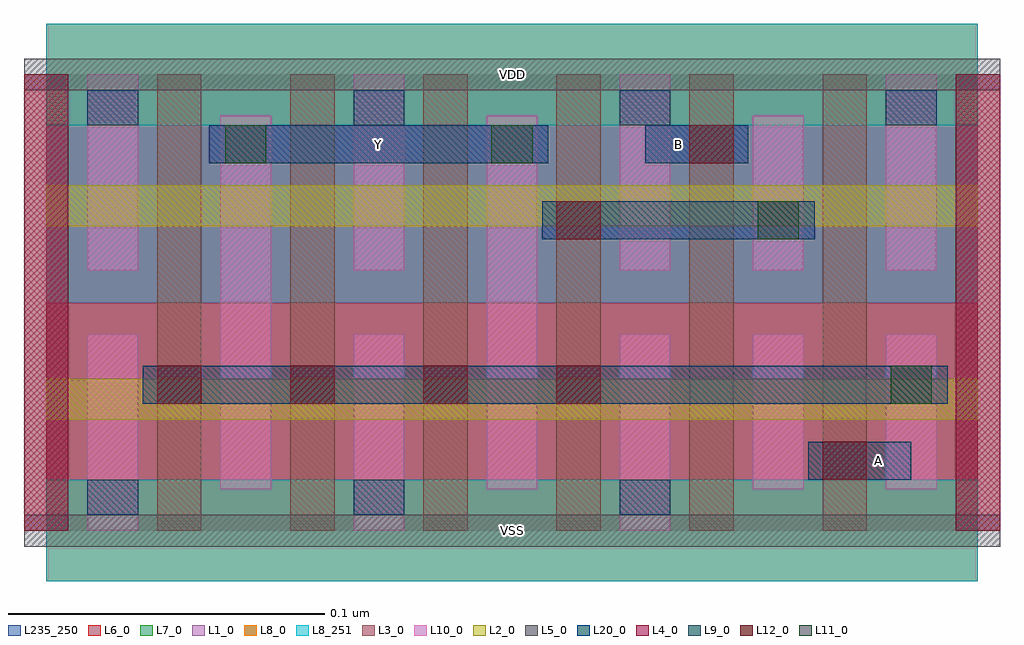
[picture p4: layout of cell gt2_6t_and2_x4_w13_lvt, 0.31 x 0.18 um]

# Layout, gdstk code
import gdstk
lib = gdstk.Library(unit=1e-6, precision=5e-10)
def R(c, l, rs):  # rectangles x0, y0, x1, y1
    for r in rs: c.add(gdstk.rectangle(r[:2], r[2:], *l))
def A(c, l, x, y, w, h, nx, ny, dx, dy):  # array of equal rectangles
    R(c, l, [(x+i*dx, y+j*dy, x+i*dx+w, y+j*dy+h) for i in range(nx) for j in range(ny)])
L1_0 = (1, 0)
L2_0 = (2, 0)
L3_0 = (3, 0)
L4_0 = (4, 0)
L5_0 = (5, 0)
L6_0 = (6, 0)
L7_0 = (7, 0)
L8_0 = (8, 0)
L8_251 = (8, 251)
L9_0 = (9, 0)
L10_0 = (10, 0)
L11_0 = (11, 0)
L12_0 = (12, 0)
L20_0 = (20, 0)
L235_250 = (235, 250)

gt2_6t_and2_x4_w13_lvt = lib.new_cell('gt2_6t_and2_x4_w13_lvt')
R(gt2_6t_and2_x4_w13_lvt, L1_0, [(0,0.072,0.294,0.144)])
R(gt2_6t_and2_x4_w13_lvt, L2_0, [(0,0.035,0.294,0.048), (0,0.096,0.294,0.109)])
A(gt2_6t_and2_x4_w13_lvt, L3_0, -0.007, 0, 0.014, 0.144, 8, 1, 0.042, 0)
R(gt2_6t_and2_x4_w13_lvt, L4_0, [(-0.007,0,0.007,0.144), (0.287,0,0.301,0.144)])
R(gt2_6t_and2_x4_w13_lvt, L5_0, [(-0.007,-0.005,0.301,0.005), (-0.007,0.139,0.301,0.149)])
R(gt2_6t_and2_x4_w13_lvt, L6_0, [(0,0,0.294,0.072)])
R(gt2_6t_and2_x4_w13_lvt, L7_0, [(0,0.072,0.294,0.144)])
R(gt2_6t_and2_x4_w13_lvt, L8_0, [(0,-0.016,0.294,0.016), (0,0.128,0.294,0.16)])
R(gt2_6t_and2_x4_w13_lvt, L8_251, [(0,-0.016,0.294,0.016), (0,0.128,0.294,0.16)])
A(gt2_6t_and2_x4_w13_lvt, L9_0, 0.013, 0.005, 0.016, 0.011, 3, 1, 0.084, 0)
A(gt2_6t_and2_x4_w13_lvt, L9_0, 0.013, 0.128, 0.016, 0.011, 4, 1, 0.084, 0)
A(gt2_6t_and2_x4_w13_lvt, L10_0, 0.013, 0, 0.016, 0.062, 3, 1, 0.084, 0)
A(gt2_6t_and2_x4_w13_lvt, L10_0, 0.013, 0.082, 0.016, 0.062, 4, 1, 0.084, 0)
R(gt2_6t_and2_x4_w13_lvt, L10_0, [(0.055,0.013,0.071,0.131), (0.139,0.013,0.155,0.131), (0.223,0.013,0.239,0.062), (0.265,0.013,0.281,0.062), (0.223,0.082,0.239,0.131)])
R(gt2_6t_and2_x4_w13_lvt, L11_0, [(0.2665,0.04,0.2795,0.052), (0.2245,0.092,0.2375,0.104), (0.0565,0.116,0.0695,0.128), (0.1405,0.116,0.1535,0.128)])
A(gt2_6t_and2_x4_w13_lvt, L12_0, 0.035, 0.04, 0.014, 0.012, 4, 1, 0.042, 0)
R(gt2_6t_and2_x4_w13_lvt, L12_0, [(0.245,0.016,0.259,0.028), (0.161,0.092,0.175,0.104), (0.203,0.116,0.217,0.128)])
R(gt2_6t_and2_x4_w13_lvt, L20_0, [(0.2405,0.016,0.273,0.028), (0.0305,0.04,0.2845,0.052), (0.1565,0.092,0.2425,0.104), (0.0515,0.116,0.1585,0.128), (0.189,0.116,0.2215,0.128)])
R(gt2_6t_and2_x4_w13_lvt, L235_250, [(0,0,0.294,0.144)])
gt2_6t_and2_x4_w13_lvt.add(gdstk.Label('VSS', (0.147,0), layer=8, texttype=251))
gt2_6t_and2_x4_w13_lvt.add(gdstk.Label('VDD', (0.147,0.144), layer=8, texttype=251))
gt2_6t_and2_x4_w13_lvt.add(gdstk.Label('B', (0.1995,0.122), layer=20, texttype=251))
gt2_6t_and2_x4_w13_lvt.add(gdstk.Label('A', (0.2625,0.022), layer=20, texttype=251))
gt2_6t_and2_x4_w13_lvt.add(gdstk.Label('Y', (0.105,0.122), layer=20, texttype=251))

lib.write_gds('gt2_6t_and2_x4_w13_lvt.gds')
